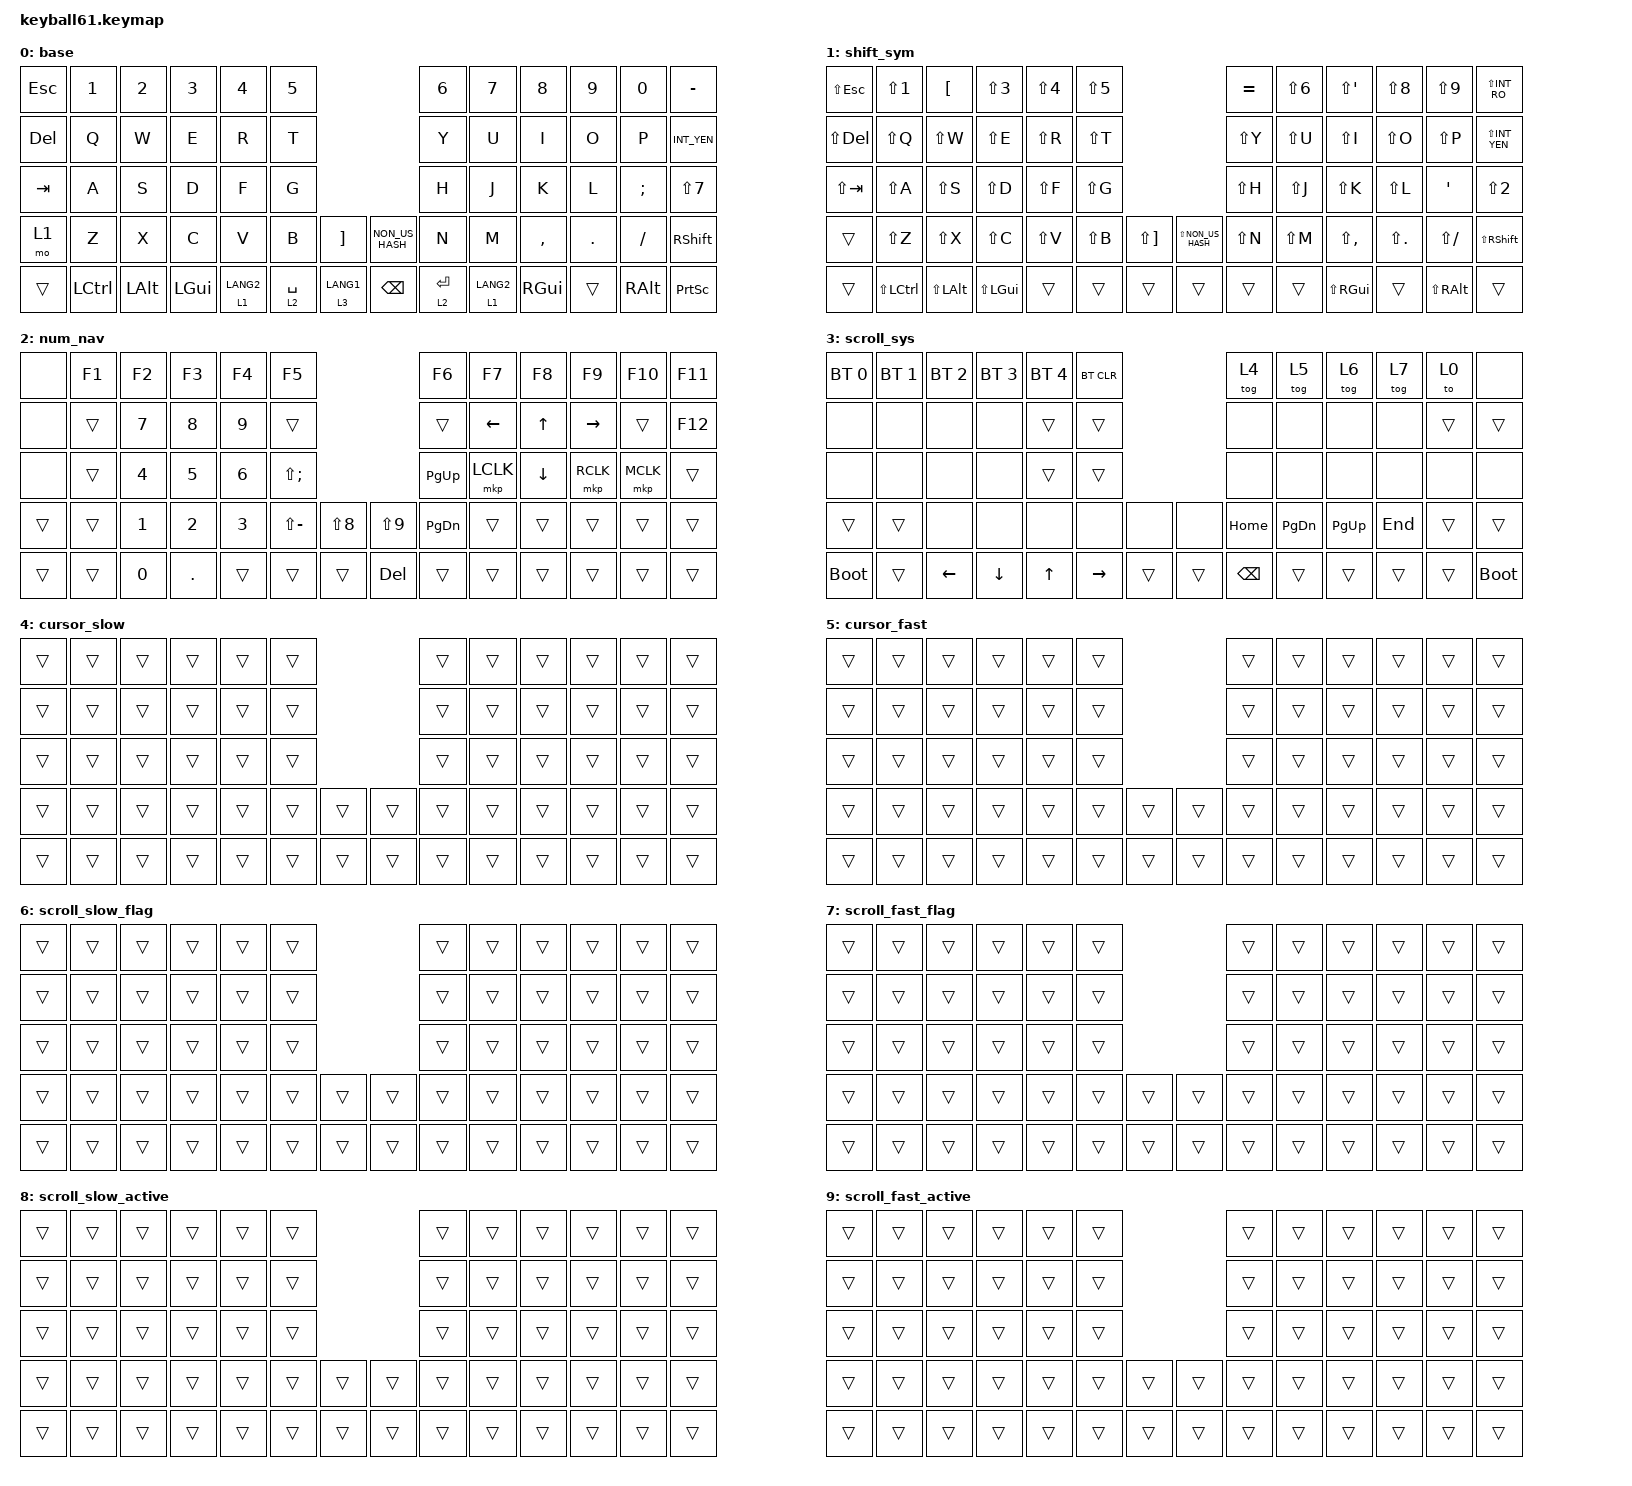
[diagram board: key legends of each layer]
/*
 * Keyball61 (ZMK). Раскладка перенесена из QMK keymaps/via, слои 0-3.
 * Порядок клавиш: 5 рядов, в каждом сначала левая половина, затем правая.
 * Пока собирается только правая половина, клавиши левой половины просто не нажимаются.
 */

#include <behaviors.dtsi>
#include <dt-bindings/zmk/keys.h>
#include <dt-bindings/zmk/bt.h>
#include <dt-bindings/zmk/pointing.h>

/ {
    keymap {
        compatible = "zmk,keymap";

        base {
            display-name = "base";
            bindings = <
            &kp ESC         &kp N1          &kp N2          &kp N3          &kp N4          &kp N5          &kp N6          &kp N7          &kp N8          &kp N9          &kp N0          &kp MINUS
            &kp DEL         &kp Q           &kp W           &kp E           &kp R           &kp T           &kp Y           &kp U           &kp I           &kp O           &kp P           &kp INT_YEN
            &kp TAB         &kp A           &kp S           &kp D           &kp F           &kp G           &kp H           &kp J           &kp K           &kp L           &kp SEMI        &kp LS(N7)
            &mo 1           &kp Z           &kp X           &kp C           &kp V           &kp B           &kp RBKT        &kp NON_US_HASH  &kp N           &kp M           &kp COMMA       &kp DOT         &kp FSLH        &kp RSHFT
            &trans          &kp LCTRL       &kp LALT        &kp LGUI        &lt 1 LANG2     &lt 2 SPACE     &lt 3 LANG1     &kp BSPC        &lt 2 RET       &lt 1 LANG2     &kp RGUI        &trans          &kp RALT        &kp PSCRN
            >;
        };

        shift_sym {
            display-name = "shift_sym";
            bindings = <
            &kp LS(ESC)     &kp LS(N1)      &kp LBKT        &kp LS(N3)      &kp LS(N4)      &kp LS(N5)      &kp EQUAL       &kp LS(N6)      &kp LS(SQT)     &kp LS(N8)      &kp LS(N9)      &kp LS(INT_RO)
            &kp LS(DEL)     &kp LS(Q)       &kp LS(W)       &kp LS(E)       &kp LS(R)       &kp LS(T)       &kp LS(Y)       &kp LS(U)       &kp LS(I)       &kp LS(O)       &kp LS(P)       &kp LS(INT_YEN)
            &kp LS(TAB)     &kp LS(A)       &kp LS(S)       &kp LS(D)       &kp LS(F)       &kp LS(G)       &kp LS(H)       &kp LS(J)       &kp LS(K)       &kp LS(L)       &kp SQT         &kp LS(N2)
            &trans          &kp LS(Z)       &kp LS(X)       &kp LS(C)       &kp LS(V)       &kp LS(B)       &kp LS(RBKT)    &kp LS(NON_US_HASH)  &kp LS(N)       &kp LS(M)       &kp LS(COMMA)   &kp LS(DOT)     &kp LS(FSLH)    &kp LS(RSHFT)
            &trans          &kp LS(LCTRL)   &kp LS(LALT)    &kp LS(LGUI)    &trans          &trans          &trans          &trans          &trans          &trans          &kp LS(RGUI)    &trans          &kp LS(RALT)    &trans
            >;
        };

        num_nav {
            display-name = "num_nav";
            bindings = <
            &none           &kp F1          &kp F2          &kp F3          &kp F4          &kp F5          &kp F6          &kp F7          &kp F8          &kp F9          &kp F10         &kp F11
            &none           &trans          &kp N7          &kp N8          &kp N9          &trans          &trans          &kp LEFT        &kp UP          &kp RIGHT       &trans          &kp F12
            &none           &trans          &kp N4          &kp N5          &kp N6          &kp LS(SEMI)    &kp PG_UP       &mkp LCLK       &kp DOWN        &mkp RCLK       &mkp MCLK       &trans
            &trans          &trans          &kp N1          &kp N2          &kp N3          &kp LS(MINUS)   &kp LS(N8)      &kp LS(N9)      &kp PG_DN       &trans          &trans          &trans          &trans          &trans
            &trans          &trans          &kp N0          &kp DOT         &trans          &trans          &trans          &kp DEL         &trans          &trans          &trans          &trans          &trans          &trans
            >;
        };

        scroll_sys {
            display-name = "scroll_sys";
            bindings = <
            &bt BT_SEL 0    &bt BT_SEL 1    &bt BT_SEL 2    &bt BT_SEL 3    &bt BT_SEL 4    &bt BT_CLR      &tog 4         &tog 5         &tog 6         &tog 7         &to 0          &none
            &none           &none           &none           &none           &trans          &trans          &none           &none           &none           &none           &trans          &trans
            &none           &none           &none           &none           &trans          &trans          &none           &none           &none           &none           &none           &none
            &trans          &trans          &none           &none           &none           &none           &none           &none           &kp HOME        &kp PG_DN       &kp PG_UP       &kp END         &trans          &trans
            &bootloader     &trans          &kp LEFT        &kp DOWN        &kp UP          &kp RIGHT       &trans          &trans          &kp BSPC        &trans          &trans          &trans          &trans          &bootloader
            >;
        };

        cursor_slow {
            display-name = "cursor_slow";
            bindings = <
            &trans  &trans  &trans  &trans  &trans  &trans  &trans  &trans  &trans  &trans  &trans  &trans
            &trans  &trans  &trans  &trans  &trans  &trans  &trans  &trans  &trans  &trans  &trans  &trans
            &trans  &trans  &trans  &trans  &trans  &trans  &trans  &trans  &trans  &trans  &trans  &trans
            &trans  &trans  &trans  &trans  &trans  &trans  &trans  &trans  &trans  &trans  &trans  &trans  &trans  &trans
            &trans  &trans  &trans  &trans  &trans  &trans  &trans  &trans  &trans  &trans  &trans  &trans  &trans  &trans
            >;
        };
        cursor_fast {
            display-name = "cursor_fast";
            bindings = <
            &trans  &trans  &trans  &trans  &trans  &trans  &trans  &trans  &trans  &trans  &trans  &trans
            &trans  &trans  &trans  &trans  &trans  &trans  &trans  &trans  &trans  &trans  &trans  &trans
            &trans  &trans  &trans  &trans  &trans  &trans  &trans  &trans  &trans  &trans  &trans  &trans
            &trans  &trans  &trans  &trans  &trans  &trans  &trans  &trans  &trans  &trans  &trans  &trans  &trans  &trans
            &trans  &trans  &trans  &trans  &trans  &trans  &trans  &trans  &trans  &trans  &trans  &trans  &trans  &trans
            >;
        };
        scroll_slow_flag {
            display-name = "scroll_slow_flag";
            bindings = <
            &trans  &trans  &trans  &trans  &trans  &trans  &trans  &trans  &trans  &trans  &trans  &trans
            &trans  &trans  &trans  &trans  &trans  &trans  &trans  &trans  &trans  &trans  &trans  &trans
            &trans  &trans  &trans  &trans  &trans  &trans  &trans  &trans  &trans  &trans  &trans  &trans
            &trans  &trans  &trans  &trans  &trans  &trans  &trans  &trans  &trans  &trans  &trans  &trans  &trans  &trans
            &trans  &trans  &trans  &trans  &trans  &trans  &trans  &trans  &trans  &trans  &trans  &trans  &trans  &trans
            >;
        };
        scroll_fast_flag {
            display-name = "scroll_fast_flag";
            bindings = <
            &trans  &trans  &trans  &trans  &trans  &trans  &trans  &trans  &trans  &trans  &trans  &trans
            &trans  &trans  &trans  &trans  &trans  &trans  &trans  &trans  &trans  &trans  &trans  &trans
            &trans  &trans  &trans  &trans  &trans  &trans  &trans  &trans  &trans  &trans  &trans  &trans
            &trans  &trans  &trans  &trans  &trans  &trans  &trans  &trans  &trans  &trans  &trans  &trans  &trans  &trans
            &trans  &trans  &trans  &trans  &trans  &trans  &trans  &trans  &trans  &trans  &trans  &trans  &trans  &trans
            >;
        };
        scroll_slow_active {
            display-name = "scroll_slow_active";
            bindings = <
            &trans  &trans  &trans  &trans  &trans  &trans  &trans  &trans  &trans  &trans  &trans  &trans
            &trans  &trans  &trans  &trans  &trans  &trans  &trans  &trans  &trans  &trans  &trans  &trans
            &trans  &trans  &trans  &trans  &trans  &trans  &trans  &trans  &trans  &trans  &trans  &trans
            &trans  &trans  &trans  &trans  &trans  &trans  &trans  &trans  &trans  &trans  &trans  &trans  &trans  &trans
            &trans  &trans  &trans  &trans  &trans  &trans  &trans  &trans  &trans  &trans  &trans  &trans  &trans  &trans
            >;
        };
        scroll_fast_active {
            display-name = "scroll_fast_active";
            bindings = <
            &trans  &trans  &trans  &trans  &trans  &trans  &trans  &trans  &trans  &trans  &trans  &trans
            &trans  &trans  &trans  &trans  &trans  &trans  &trans  &trans  &trans  &trans  &trans  &trans
            &trans  &trans  &trans  &trans  &trans  &trans  &trans  &trans  &trans  &trans  &trans  &trans
            &trans  &trans  &trans  &trans  &trans  &trans  &trans  &trans  &trans  &trans  &trans  &trans  &trans  &trans
            &trans  &trans  &trans  &trans  &trans  &trans  &trans  &trans  &trans  &trans  &trans  &trans  &trans  &trans
            >;
        };
    };
};
